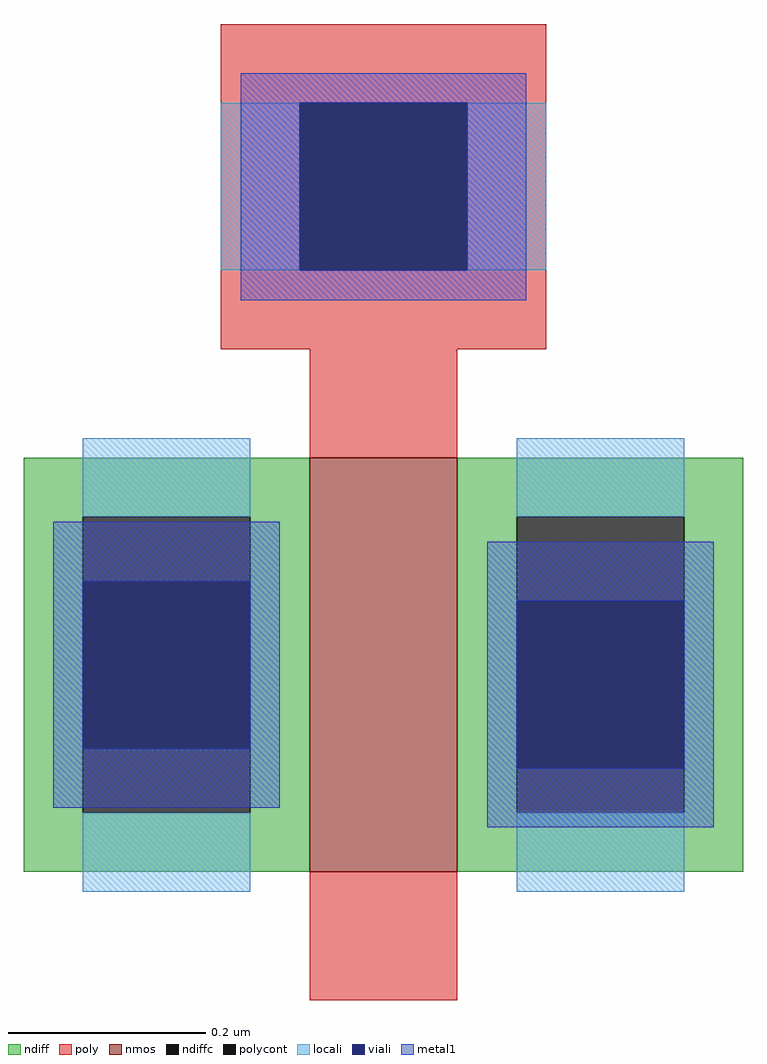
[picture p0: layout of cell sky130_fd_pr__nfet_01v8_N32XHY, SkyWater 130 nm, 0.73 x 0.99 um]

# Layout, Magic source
magic
tech sky130A
magscale 1 2
<< nmos >>
rect -15 -73 15 11
<< ndiff >>
rect -73 -1 -15 11
rect -73 -61 -61 -1
rect -27 -61 -15 -1
rect -73 -73 -15 -61
rect 15 -1 73 11
rect 15 -61 27 -1
rect 61 -61 73 -1
rect 15 -73 73 -61
<< ndiffc >>
rect -61 -61 -27 -1
rect 27 -61 61 -1
<< poly >>
rect -33 83 33 99
rect -33 49 -17 83
rect 17 49 33 83
rect -33 33 33 49
rect -15 11 15 33
rect -15 -99 15 -73
<< polycont >>
rect -17 49 17 83
<< locali >>
rect -33 49 -17 83
rect 17 49 33 83
rect -61 -1 -27 15
rect -61 -77 -27 -61
rect 27 -1 61 15
rect 27 -77 61 -61
<< viali >>
rect -17 49 17 83
rect -61 -48 -27 -14
rect 27 -52 61 -18
<< metal1 >>
rect -29 83 29 89
rect -29 49 -17 83
rect 17 49 29 83
rect -29 43 29 49
rect -67 -14 -21 -2
rect -67 -48 -61 -14
rect -27 -48 -21 -14
rect -67 -60 -21 -48
rect 21 -18 67 -6
rect 21 -52 27 -18
rect 61 -52 67 -18
rect 21 -64 67 -52
<< properties >>
string gencell sky130_fd_pr__nfet_01v8
string parameters w 0.42 l 0.150 m 1 nf 1 diffcov 100 polycov 100 guard 0 glc 0 grc 0 gtc 1 gbc 1 tbcov 100 rlcov 100 topc 1 botc 0 poverlap 0 doverlap 1 lmin 0.15 wmin 0.42 compatible {sky130_fd_pr__nfet_01v8 sky130_fd_pr__nfet_01v8_lvt  sky130_fd_bs_flash__special_sonosfet_star  sky130_fd_pr__nfet_g5v0d10v5 sky130_fd_pr__nfet_05v0_nvt  sky130_fd_pr__nfet_03v3_nvt} full_metal 0 viasrc -40 viadrn 40 viagate 100 viagb 80 viagr 0 viagl 0 viagt 0
string library sky130
<< end >>
